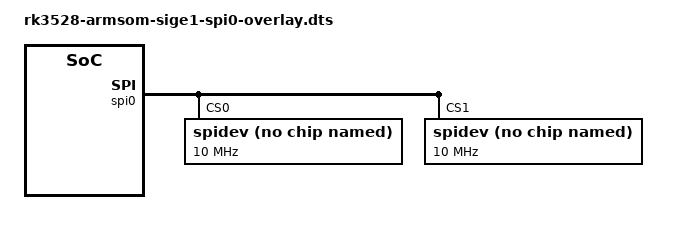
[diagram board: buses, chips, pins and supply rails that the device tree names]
// SPDX-License-Identifier: (GPL-2.0+ OR MIT)
/dts-v1/;
/plugin/;

/* CON3100: MOSI 19, MISO 21, SCLK 23, CS0 24, CS1 26.
 * GPIO4_B4 is also I2S1 SDI0; use SPI or I2S, not both.
 */
&sai1 { status = "disabled"; };
&sige1_i2s1_sound { status = "disabled"; };
&sige1_i2s1_codec { status = "disabled"; };

&spi0 {
	#address-cells = <1>;
	#size-cells = <0>;
	pinctrl-names = "default";
	pinctrl-0 = <&spi0_pins &spi0_csn0 &spi0_csn1>;
	status = "okay";
	spidev@0 {
		compatible = "rockchip,spidev";
		reg = <0>;
		spi-max-frequency = <10000000>;
	};
	spidev@1 {
		compatible = "rockchip,spidev";
		reg = <1>;
		spi-max-frequency = <10000000>;
	};
};
